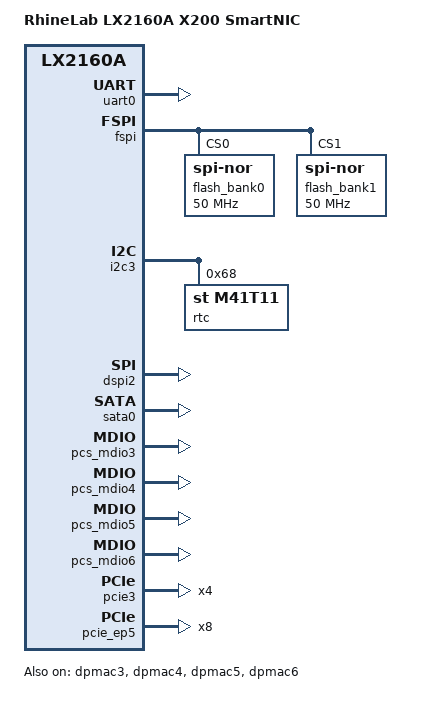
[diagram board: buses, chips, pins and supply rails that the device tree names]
// SPDX-License-Identifier: (GPL-2.0 OR MIT)
/* X200 Linux description: board_profile_id=x200-s1_12-s2_05-s3_02-v1 */

/dts-v1/;

#include "fsl-lx2160a.dtsi"

/ {
	model = "RhineLab LX2160A X200 SmartNIC";
	compatible = "rhinelab,lx2160a-x200", "fsl,lx2160a";
	rhinelab,board-profile-id = "x200-s1_12-s2_05-s3_02-v1";

	aliases {
		/* Generic SEC era fixup resolves the crypto alias. */
		crypto = &crypto;
		serial0 = &uart0;
	};

	chosen {
		stdout-path = "serial0:115200n8";
	};

	/* Retained unused reservation: x200-pcie-persistent-linux-publication-design.
	 * U-Boot leaves PCIe5 unpublished; Linux owns the runtime BAR layout.
	 */
	reserved-memory {
		#address-cells = <2>;
		#size-cells = <2>;
		ranges;

		pcie-ep-memory@94000000 {
			reg = <0x0 0x94000000 0x0 0x00010000>;
			no-map;
		};
	};
};

&uart0 {
	status = "okay";
};

/* D11 and D12 are two independent 16 MB devices, never one 32 MB MTD. */
&fspi {
	status = "okay";

	flash_bank0: flash@0 {
		compatible = "jedec,spi-nor";
		reg = <0>;
		spi-max-frequency = <50000000>;
	};

	flash_bank1: flash@1 {
		compatible = "jedec,spi-nor";
		reg = <1>;
		spi-max-frequency = <50000000>;
	};
};

/* hardware-evidence-v1.json: x200-no-board-eeprom-storage.
 * The unverified board EEPROM is omitted; RTC remains available.
 */
&i2c3 {
	status = "okay";

	rtc@68 {
		compatible = "st,m41t11";
		reg = <0x68>;
	};
};

/* Slave identities are intentionally omitted until target wiring is traced. */
&dspi2 {
	spi-num-chipselects = <4>;
	status = "okay";
};

/* X200 exposes only the first AHCI controller. */
&sata0 {
	status = "okay";
};

/* DPMAC3-6 use the SoC-internal Lynx PCS even without external PHYs.
 * hardware-evidence-v1.json: x200-pcs-mdio-timing-2500khz.
 * Request 2.5MHz for the PCS MDIO timing contract.
 * Cage coverage and sustained line-rate operation require qualification.
 */
&pcs_mdio3 {
	clock-frequency = <2500000>;
	status = "okay";
};

&pcs_mdio4 {
	clock-frequency = <2500000>;
	status = "okay";
};

&pcs_mdio5 {
	clock-frequency = <2500000>;
	status = "okay";
};

&pcs_mdio6 {
	clock-frequency = <2500000>;
	status = "okay";
};

/* hardware-evidence-v1.json: x200-serdes2-gen3-design.
 * LX2160A Rev2 uses the DWC ls2088a binding, not the Rev1 Mobiveil binding.
 * The pinned U-Boot ft_pci_setup supplies PCIe3 MSI/IOMMU requester mappings.
 * Gen3 is the requested ceiling; the FPGA capability is not yet measured.
 */
&pcie3 {
	compatible = "fsl,ls2088a-pcie";
	reg-names = "regs", "config";
	/delete-property/ apio-wins;
	/delete-property/ ppio-wins;
	num-lanes = <4>;
	max-link-speed = <3>;
	linux,pci-domain = <0>;
	status = "okay";
};

/* RC nodes share the register apertures and therefore stay disabled. */
&pcie5 {
	status = "disabled";
};

&pcie6 {
	status = "disabled";
};

&{/soc} {
	pcie_ep5: pcie-ep@3800000 {
		compatible = "fsl,lx2160ar2-pcie-ep";
		reg = <0x00 0x03800000 0x0 0x00100000>,
		      <0xa0 0x00000000 0x8 0x00000000>;
		reg-names = "regs", "addr_space";
		interrupts = <GIC_SPI 128 IRQ_TYPE_LEVEL_HIGH>;
		interrupt-names = "pme";
		num-ib-windows = <6>;
		num-ob-windows = <8>;
		num-lanes = <8>;
		dma-coherent;
		status = "okay";
	};
};

/* hardware-evidence-v1.json: x200-dual-rate-native18-design */
&dpmac3 {
	status = "okay";
	phys = <&serdes_1 7>;
	phy-mode = "10gbase-r";
	managed = "in-band-status";
};

/* hardware-evidence-v1.json: x200-dual-rate-native18-design */
&dpmac4 {
	status = "okay";
	phys = <&serdes_1 6>;
	phy-mode = "10gbase-r";
	managed = "in-band-status";
};

/* hardware-evidence-v1.json: x200-dual-rate-native18-design */
&dpmac5 {
	status = "okay";
	phys = <&serdes_1 5>;
	phy-mode = "25gbase-r";
	managed = "in-band-status";
};

/* hardware-evidence-v1.json: x200-dual-rate-native18-design */
&dpmac6 {
	status = "okay";
	phys = <&serdes_1 4>;
	phy-mode = "25gbase-r";
	managed = "in-band-status";
};
